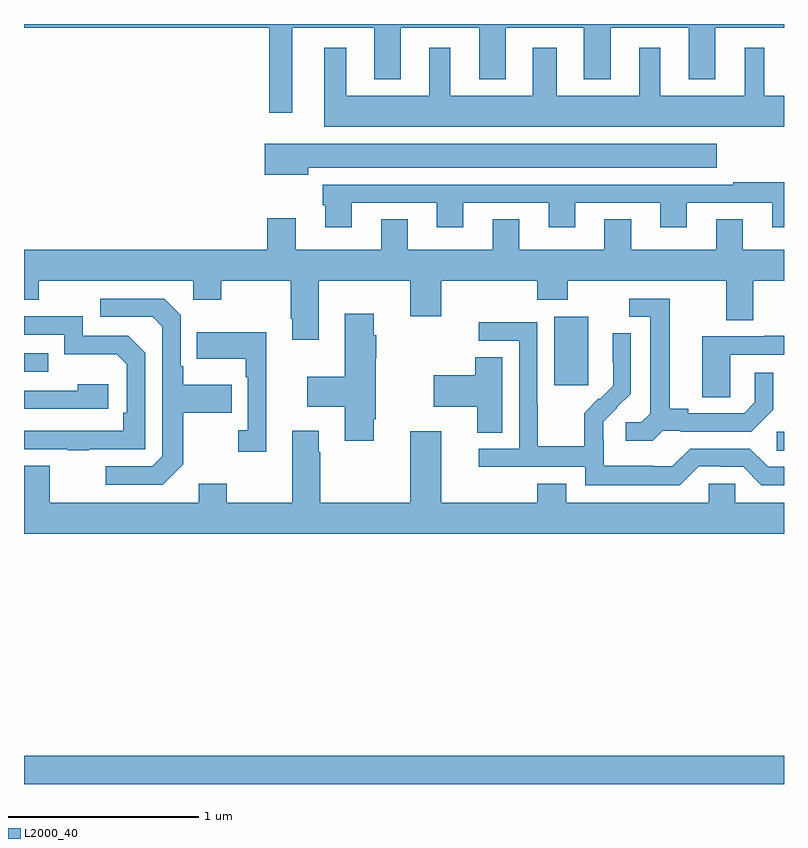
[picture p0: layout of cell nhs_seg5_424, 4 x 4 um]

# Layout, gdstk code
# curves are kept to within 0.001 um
import gdstk
lib = gdstk.Library(unit=1e-6, precision=1e-09)
def R(c, l, rs):  # rectangles x0, y0, x1, y1
    for r in rs: c.add(gdstk.rectangle(r[:2], r[2:], *l))
def P(c, l, *ps):  # polygons
    for p in ps: c.add(gdstk.Polygon(p, *l))
L2000_40 = (2000, 40)

nhs_seg5_424 = lib.new_cell('nhs_seg5_424')
R(nhs_seg5_424, L2000_40, [(139,832.799,143,832.948), (142.962,834.553,143,834.654), (141.791,834.897,141.97,835.258), (139,834.969,139.127,835.065)])
P(nhs_seg5_424, L2000_40, [(140.413,836.78),(140.843,836.78),(140.843,836.507),(140.983,836.507),(140.983,836.78),(141.395,836.78),(141.395,836.507),(141.535,836.507),(141.535,836.78),(141.947,836.78),(141.947,836.507),(142.087,836.507),(142.087,836.78),(142.499,836.78),(142.499,836.507),(142.639,836.507),(142.639,836.78),(143,836.78),(143,836.799),(139,836.799),(139,836.78),(140.292,836.78),(140.292,836.331),(140.413,836.331)],
  [(143,836.422),(142.897,836.422),(142.897,836.674),(142.793,836.674),(142.793,836.422),(142.348,836.422),(142.348,836.674),(142.238,836.674),(142.238,836.422),(141.805,836.422),(141.805,836.674),(141.677,836.674),(141.677,836.422),(141.244,836.422),(141.244,836.674),(141.134,836.674),(141.134,836.422),(140.695,836.422),(140.695,836.674),(140.579,836.674),(140.579,836.258),(143,836.258)],
  [(140.497,836.042),(142.645,836.042),(142.645,836.17),(140.268,836.17),(140.268,836.006),(140.497,836.006)],
  [(140.725,835.857),(141.173,835.857),(141.173,835.728),(141.313,835.728),(141.313,835.857),(141.761,835.857),(141.761,835.728),(141.901,835.728),(141.901,835.857),(142.349,835.857),(142.349,835.728),(142.489,835.728),(142.489,835.857),(142.937,835.857),(142.937,835.728),(143,835.728),(143,835.966),(142.732,835.966),(142.732,835.953),(140.573,835.953),(140.573,835.845),(140.585,835.845),(140.585,835.728),(140.725,835.728)],
  [(140.551,835.448),(141.032,835.448),(141.032,835.26),(141.196,835.26),(141.196,835.448),(141.701,835.448),(141.701,835.349),(141.861,835.349),(141.861,835.448),(142.697,835.448),(142.697,835.24),(142.837,835.24),(142.837,835.448),(143,835.448),(143,835.612),(142.783,835.612),(142.783,835.772),(142.643,835.772),(142.643,835.612),(142.195,835.612),(142.195,835.772),(142.055,835.772),(142.055,835.612),(141.607,835.612),(141.607,835.772),(141.467,835.772),(141.467,835.612),(141.019,835.612),(141.019,835.772),(140.879,835.772),(140.879,835.612),(140.431,835.612),(140.431,835.777),(140.279,835.777),(140.279,835.612),(139,835.612),(139,835.349),(139.077,835.349),(139.077,835.448),(139.89,835.448),(139.89,835.349),(140.037,835.349),(140.037,835.448),(140.404,835.448),(140.404,835.249),(140.411,835.249),(140.411,835.137),(140.551,835.137)],
  [(142.362,834.657),(142.456,834.657),(142.456,834.654),(142.828,834.654),(142.944,834.77),(142.944,834.964),(142.847,834.964),(142.847,834.807),(142.79,834.75),(142.495,834.75),(142.495,834.773),(142.399,834.773),(142.399,835.353),(142.185,835.353),(142.185,835.257),(142.295,835.257),(142.295,834.749),(142.248,834.702),(142.167,834.702),(142.167,834.605),(142.31,834.605)],
  [(139.837,834.481),(139.837,834.754),(140.093,834.754),(140.093,834.901),(139.837,834.901),(139.837,834.997),(139.824,834.997),(139.824,835.266),(139.737,835.353),(139.401,835.353),(139.401,835.257),(139.677,835.257),(139.728,835.206),(139.728,834.525),(139.674,834.471),(139.431,834.471),(139.431,834.375),(139.731,834.375)],
  [(140.842,834.718),(140.85,834.718),(140.85,835.039),(140.855,835.039),(140.855,835.16),(140.842,835.16),(140.842,835.273),(140.687,835.273),(140.687,834.943),(140.49,834.943),(140.49,834.785),(140.687,834.785),(140.687,834.606),(140.842,834.606)],
  [(139.343,834.561),(139.638,834.561),(139.638,835.068),(139.548,835.158),(139.308,835.158),(139.308,835.26),(139,835.26),(139,835.164),(139.212,835.164),(139.212,835.061),(139.489,835.061),(139.542,835.008),(139.542,834.754),(139.522,834.754),(139.522,834.657),(139,834.657),(139,834.561),(139.231,834.561),(139.231,834.556),(139.343,834.556)],
  [(142.551,834.471),(142.667,834.471),(142.667,834.468),(142.785,834.468),(142.881,834.372),(143,834.372),(143,834.468),(142.917,834.468),(142.821,834.564),(142.506,834.564),(142.413,834.471),(142.313,834.471),(142.313,834.475),(142.05,834.475),(142.05,834.609),(142.048,834.609),(142.048,834.706),(142.194,834.854),(142.194,835.172),(142.098,835.172),(142.098,835.018),(142.1,835.018),(142.1,834.896),(142.029,834.825),(142.026,834.828),(141.949,834.751),(141.949,834.577),(141.705,834.577),(141.705,834.8),(141.702,834.8),(141.702,835.23),(141.393,835.23),(141.393,835.131),(141.606,835.131),(141.606,834.564),(141.393,834.564),(141.393,834.468),(141.954,834.468),(141.954,834.371),(142.451,834.371)],
  [(140.276,835.177),(139.909,835.177),(139.909,835.037),(140.166,835.037),(140.166,834.941),(140.178,834.941),(140.178,834.662),(140.127,834.662),(140.127,834.549),(140.276,834.549)],
  [(142.716,835.059),(143,835.059),(143,835.159),(142.895,835.159),(142.895,835.155),(142.571,835.155),(142.571,834.835),(142.716,834.835)],
  [(141.517,835.046),(141.374,835.046),(141.374,834.951),(141.156,834.951),(141.156,834.785),(141.386,834.785),(141.386,834.649),(141.517,834.649)],
  [(139.444,834.904),(139.283,834.904),(139.283,834.87),(139,834.87),(139,834.774),(139.444,834.774)],
  [(143,834.28),(142.743,834.28),(142.743,834.378),(142.605,834.378),(142.605,834.28),(141.853,834.28),(141.853,834.379),(141.701,834.379),(141.701,834.28),(141.196,834.28),(141.196,834.655),(141.032,834.655),(141.032,834.28),(140.559,834.28),(140.559,834.545),(140.551,834.545),(140.551,834.658),(140.411,834.658),(140.411,834.28),(140.067,834.28),(140.067,834.379),(139.919,834.379),(139.919,834.28),(139.135,834.28),(139.135,834.475),(139,834.475),(139,834.116),(143,834.116)])

lib.write_gds('nhs_seg5_424.gds')
